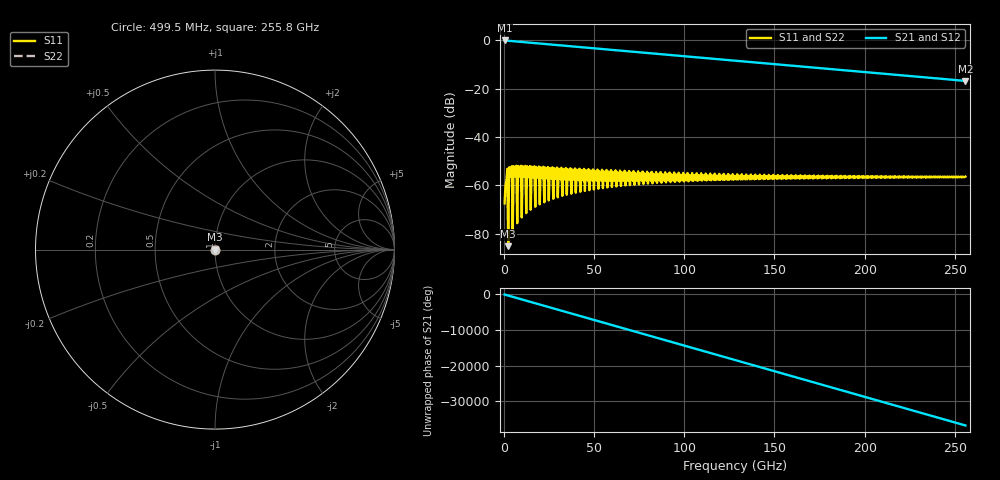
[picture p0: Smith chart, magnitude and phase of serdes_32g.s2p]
! SPIKE edited channel only; endpoint loading is reported separately.
! Request SHA256 e718a56a5791cc4d18ea6bf04971e0754cdf530b9ab86348b5b375c198b71865
! Ports use the explicit edited network order.
# Hz S RI R 100
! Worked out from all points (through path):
!   512 points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, 499.5 MHz to 255.8 GHz, reference 100 ohm
!   highest |S21| = -0.06 dB at 499.5 MHz (marker M1); lowest = -16.8 dB at 255.8 GHz (marker M2)
!   lowest |S11| = -85.1 dB at 2.498 GHz (marker M3), VSWR 1.00, Z = 100 + j0.0108 ohm
!   |S11| at or under -10 dB: start of sweep to end of sweep
!   |S22| runs from -85.1 to -51.9 dB; largest |S21 - S12| = 4.3e-14
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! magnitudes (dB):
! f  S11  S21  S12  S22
! 499.5 MHz  -67.4  -0.1  -0.1  -67.4
! 999 MHz  -59.9  -0.1  -0.1  -59.9
! 1.499 GHz  -58.1  -0.1  -0.1  -58.1
! 1.998 GHz  -53.1  -0.2  -0.2  -53.1
! 2.498 GHz  -85.1  -0.2  -0.2  -85.1
! 3.996 GHz  -56.4  -0.3  -0.3  -56.4
! 5.994 GHz  -55.9  -0.4  -0.4  -55.9
! 6.494 GHz  -56.3  -0.5  -0.5  -56.3
! 8.492 GHz  -55.8  -0.6  -0.6  -55.8
! 8.991 GHz  -56.3  -0.6  -0.6  -56.3
! 10.99 GHz  -55.8  -0.7  -0.7  -55.8
! 11.49 GHz  -56.4  -0.8  -0.8  -56.4
! 13.49 GHz  -55.8  -0.9  -0.9  -55.8
! 13.99 GHz  -56.5  -0.9  -0.9  -56.5
! 15.98 GHz  -55.8  -1.1  -1.1  -55.8
! 26.47 GHz  -57.2  -1.8  -1.8  -57.2
! 43.46 GHz  -55.9  -2.9  -2.9  -55.9
! 85.92 GHz  -56.0  -5.7  -5.7  -56.0
! 128.4 GHz  -56.1  -8.4  -8.4  -56.1
! 170.8 GHz  -56.2  -11.2  -11.2  -56.2
! 213.3 GHz  -56.3  -14.0  -14.0  -56.3
! 255.8 GHz  -56.3  -16.8  -16.8  -56.3
